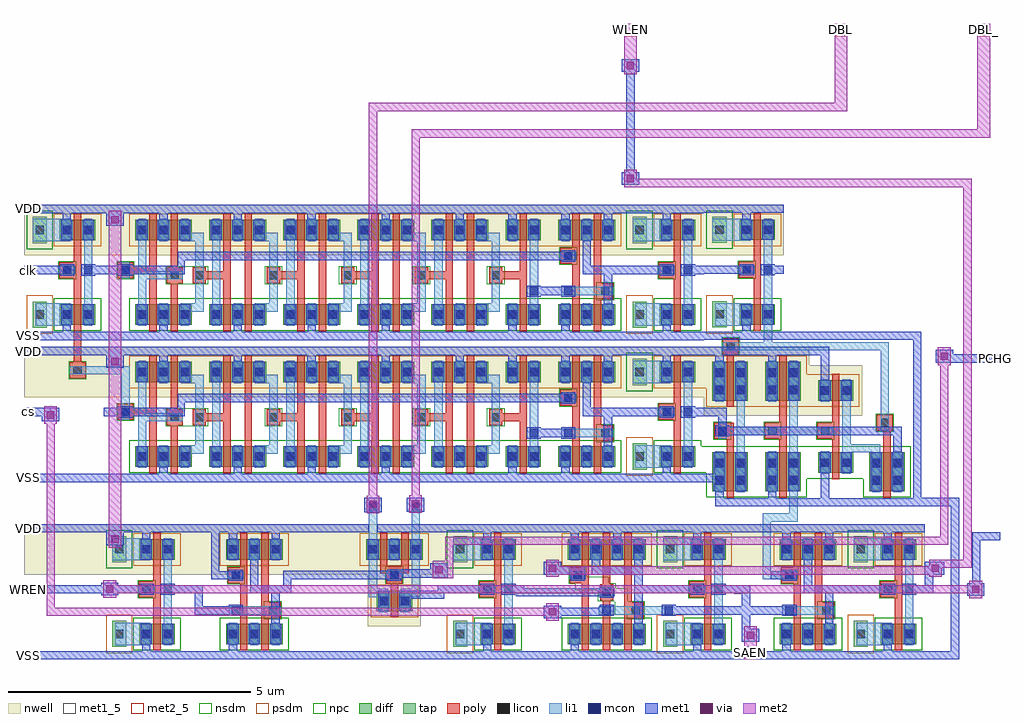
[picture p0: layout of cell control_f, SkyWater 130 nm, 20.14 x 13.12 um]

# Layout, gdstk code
import gdstk
lib = gdstk.Library(unit=1e-6, precision=1e-09)
def R(c, l, rs):  # rectangles x0, y0, x1, y1
    for r in rs: c.add(gdstk.rectangle(r[:2], r[2:], *l))
def A(c, l, x, y, w, h, nx, ny, dx, dy):  # array of equal rectangles
    R(c, l, [(x+i*dx, y+j*dy, x+i*dx+w, y+j*dy+h) for i in range(nx) for j in range(ny)])
nwell = (64, 20)
diff = (65, 20)
tap = (65, 44)
poly = (66, 20)
licon = (66, 44)
li1 = (67, 20)
mcon = (67, 44)
met1_5 = (68, 5)
met1 = (68, 20)
via = (68, 44)
met2_5 = (69, 5)
met2 = (69, 20)
nsdm = (93, 44)
psdm = (94, 20)
npc = (95, 20)

control_f = lib.new_cell('control_f')
R(control_f, nwell, [(7.1,0.685,8.19,1.75), (0,1.75,18.595,2.79), (14.03,5.03,17.3,5.41), (0,5.41,17.3,6.07), (0,6.07,16.21,6.45), (0,8.34,14.03,8.345), (0,8.345,15.68,9.38), (14.03,9.38,15.68,9.385)])
A(control_f, diff, 2.295, 3.975, 1.17, 0.42, 3, 2, 1.53, 1.745)
A(control_f, diff, 2.295, 6.905, 1.17, 0.42, 3, 2, 1.53, 1.745)
R(control_f, diff, [(2.38,0.315,3.11,0.735), (4.17,0.315,5.34,0.735), (9.415,0.315,10.145,0.735), (11.22,0.315,12.83,0.735), (13.75,0.315,14.48,0.735), (15.595,0.315,16.765,0.735), (17.685,0.315,18.415,0.735), (7.28,0.995,8.01,1.415), (2.38,2.06,3.11,2.48), (4.17,2.06,5.34,2.48), (7.06,2.06,8.23,2.48), (9.415,2.06,10.145,2.48), (11.22,2.06,12.83,2.48), (13.75,2.06,14.48,2.48), (15.595,2.06,16.765,2.48), (17.685,2.06,18.415,2.48), (14.21,3.47,14.94,4.27), (15.3,3.47,16.03,4.27), (17.445,3.47,18.175,4.27), (16.39,3.85,17.12,4.27), (6.88,3.975,8.05,4.395), (8.41,3.975,9.58,4.395), (9.94,3.975,10.67,4.395), (11.03,3.975,12.2,4.395), (13.12,3.975,13.85,4.395), (14.21,5.34,14.94,6.14), (15.3,5.34,16.03,6.14), (16.39,5.34,17.12,5.76), (6.88,5.72,8.05,6.14), (8.41,5.72,9.58,6.14), (9.94,5.72,10.67,6.14), (11.03,5.72,12.2,6.14), (13.12,5.72,13.85,6.14), (0.74,6.905,1.47,7.325), (6.88,6.905,8.05,7.325), (8.41,6.905,9.58,7.325), (9.94,6.905,10.67,7.325), (11.03,6.905,12.2,7.325), (13.12,6.905,13.85,7.325), (14.77,6.91,15.5,7.33), (0.74,8.65,1.47,9.07), (6.88,8.65,8.05,9.07), (8.41,8.65,9.58,9.07), (9.94,8.65,10.67,9.07), (11.03,8.65,12.2,9.07), (13.12,8.65,13.85,9.07), (14.77,8.655,15.5,9.075)])
R(control_f, tap, [(1.82,0.255,2.11,0.795), (8.855,0.255,9.145,0.795), (13.19,0.255,13.48,0.795), (17.125,0.255,17.415,0.795), (1.82,2,2.11,2.54), (8.855,2,9.145,2.54), (13.19,2,13.48,2.54), (17.125,2,17.415,2.54), (12.56,3.915,12.85,4.455), (12.56,5.66,12.85,6.2), (0.18,6.845,0.47,7.385), (12.56,6.845,12.85,7.385), (14.21,6.85,14.5,7.39), (0.18,8.59,0.47,9.13), (12.56,8.59,12.85,9.13), (14.21,8.595,14.5,9.135)])
A(control_f, poly, 3.485, 4.83, 0.27, 0.08, 3, 2, 1.53, 0.25)
A(control_f, poly, 3.485, 4.91, 0.78, 0.17, 3, 2, 1.53, 2.93)
A(control_f, poly, 3.485, 7.76, 0.27, 0.08, 3, 2, 1.53, 0.25)
R(control_f, poly, [(2.67,0.185,2.82,1.28), (4.46,0.185,4.61,1.57), (4.9,0.185,5.05,0.845), (9.705,0.185,9.855,1.28), (11.51,0.185,11.66,1.575), (11.95,0.185,12.1,1.22), (12.39,0.185,12.54,0.845), (14.04,0.185,14.19,1.28), (15.885,0.185,16.035,1.57), (16.325,0.185,16.475,0.845), (17.975,0.185,18.125,1.28), (4.9,0.845,5.3,1.175), (12.39,0.845,12.79,1.175), (16.325,0.845,16.725,1.175), (7.57,0.865,7.72,1.565), (4.9,1.175,5.05,2.61), (12.39,1.175,12.54,2.61), (16.325,1.175,16.475,2.61), (11.89,1.22,12.16,1.55), (2.365,1.28,2.82,1.61), (9.4,1.28,9.855,1.61), (13.735,1.28,14.19,1.61), (17.67,1.28,18.125,1.61), (11.95,1.55,12.1,2.61), (7.48,1.565,7.81,1.775), (4.21,1.57,4.61,1.9), (15.635,1.57,16.035,1.9), (11.26,1.575,11.66,1.905), (2.67,1.61,2.82,2.61), (9.705,1.61,9.855,2.61), (14.04,1.61,14.19,2.61), (17.975,1.61,18.125,2.61), (7.35,1.775,7.94,1.925), (4.46,1.9,4.61,2.61), (15.885,1.9,16.035,2.61), (11.51,1.905,11.66,2.61), (7.35,1.925,7.5,2.61), (7.79,1.925,7.94,2.61), (14.5,3.34,14.65,4.55), (15.59,3.34,15.74,4.55), (17.735,3.34,17.885,4.72), (16.68,3.72,16.83,4.55), (2.585,3.845,2.735,5.02), (3.025,3.845,3.175,4.83), (4.115,3.845,4.265,4.91), (4.555,3.845,4.705,6.27), (5.645,3.845,5.795,4.91), (6.085,3.845,6.235,6.27), (7.17,3.845,7.325,4.525), (7.61,3.845,7.76,6.27), (8.7,3.845,8.85,4.91), (9.14,3.845,9.29,6.27), (10.23,3.845,10.38,4.91), (11.32,3.845,11.47,5.23), (11.76,3.845,11.91,4.505), (13.41,3.845,13.56,4.94), (11.76,4.505,12.16,4.835), (7.175,4.525,7.325,4.91), (14.25,4.55,14.65,4.88), (15.285,4.55,15.74,4.88), (16.375,4.55,16.83,4.88), (17.6,4.72,17.93,5.05), (2.945,4.83,3.275,5.16), (8.07,4.83,8.34,4.91), (9.6,4.83,9.87,4.91), (11.76,4.835,11.91,6.27), (15.59,4.88,15.74,6.27), (16.68,4.88,16.83,5.89), (8.07,4.91,8.85,5.08), (9.6,4.91,10.38,5.08), (1.93,4.94,2.26,5.02), (13.105,4.94,13.56,5.27), (1.93,5.02,2.735,5.19), (4.115,5.08,4.265,6.27), (5.645,5.08,5.795,6.27), (7.175,5.08,7.325,5.59), (8.07,5.08,8.34,5.16), (8.7,5.08,8.85,6.27), (9.6,5.08,9.87,5.16), (10.23,5.08,10.38,6.27), (3.025,5.16,3.175,6.27), (1.93,5.19,2.26,5.27), (2.585,5.19,2.735,6.27), (14.5,5.21,14.65,6.295), (11.07,5.23,11.47,5.56), (13.41,5.27,13.56,6.27), (11.32,5.56,11.47,6.27), (7.17,5.59,7.325,6.27), (0.94,5.8,1.27,6.13), (1.03,6.13,1.18,7.87), (14.42,6.295,14.75,6.625), (2.585,6.775,2.735,7.95), (3.025,6.775,3.175,7.76), (4.115,6.775,4.265,7.84), (4.555,6.775,4.705,9.2), (5.645,6.775,5.795,7.84), (6.085,6.775,6.235,9.2), (7.17,6.775,7.325,7.455), (7.61,6.775,7.76,9.2), (8.7,6.775,8.85,7.84), (9.14,6.775,9.29,9.2), (10.23,6.775,10.38,7.84), (11.32,6.775,11.47,8.16), (11.76,6.775,11.91,7.435), (13.41,6.775,13.56,7.87), (15.06,6.78,15.21,7.875), (11.76,7.435,12.16,7.765), (7.175,7.455,7.325,7.84), (2.945,7.76,3.275,8.09), (8.07,7.76,8.34,7.84), (9.6,7.76,9.87,7.84), (11.76,7.765,11.91,9.2), (8.07,7.84,8.85,8.01), (9.6,7.84,10.38,8.01), (0.725,7.87,1.18,8.2), (1.93,7.87,2.26,7.95), (13.105,7.87,13.56,8.2), (14.755,7.875,15.21,8.205), (1.93,7.95,2.735,8.12), (4.115,8.01,4.265,9.2), (5.645,8.01,5.795,9.2), (7.175,8.01,7.325,8.52), (8.07,8.01,8.34,8.09), (8.7,8.01,8.85,9.2), (9.6,8.01,9.87,8.09), (10.23,8.01,10.38,9.2), (3.025,8.09,3.175,9.2), (1.93,8.12,2.26,8.2), (2.585,8.12,2.735,9.2), (11.07,8.16,11.47,8.49), (1.03,8.2,1.18,9.2), (13.41,8.2,13.56,9.2), (15.06,8.205,15.21,9.205), (11.32,8.49,11.47,9.2), (7.17,8.52,7.325,9.2)])
A(control_f, licon, 4.23, 0.44, 0.17, 0.17, 3, 2, 0.44, 1.745)
A(control_f, licon, 11.28, 0.44, 0.17, 0.17, 4, 2, 0.44, 1.745)
A(control_f, licon, 15.655, 0.44, 0.17, 0.17, 3, 2, 0.44, 1.745)
A(control_f, licon, 7.12, 2.185, 0.17, 0.17, 3, 1, 0.44, 0)
A(control_f, licon, 2.355, 4.1, 0.17, 0.17, 3, 2, 0.44, 1.745)
A(control_f, licon, 3.885, 4.1, 0.17, 0.17, 3, 2, 0.44, 1.745)
A(control_f, licon, 5.415, 4.1, 0.17, 0.17, 3, 2, 0.44, 1.745)
A(control_f, licon, 6.94, 4.1, 0.17, 0.17, 3, 2, 0.44, 1.745)
A(control_f, licon, 8.47, 4.1, 0.17, 0.17, 3, 2, 0.44, 1.745)
A(control_f, licon, 11.09, 4.1, 0.17, 0.17, 3, 2, 0.44, 1.745)
A(control_f, licon, 3.535, 4.91, 0.17, 0.17, 3, 2, 1.53, 2.93)
A(control_f, licon, 2.355, 7.03, 0.17, 0.17, 3, 2, 0.44, 1.745)
A(control_f, licon, 3.885, 7.03, 0.17, 0.17, 3, 2, 0.44, 1.745)
A(control_f, licon, 5.415, 7.03, 0.17, 0.17, 3, 2, 0.44, 1.745)
A(control_f, licon, 6.94, 7.03, 0.17, 0.17, 3, 2, 0.44, 1.745)
A(control_f, licon, 8.47, 7.03, 0.17, 0.17, 3, 2, 0.44, 1.745)
A(control_f, licon, 11.09, 7.03, 0.17, 0.17, 3, 2, 0.44, 1.745)
R(control_f, licon, [(1.88,0.44,2.05,0.61), (2.44,0.44,2.61,0.61), (2.88,0.44,3.05,0.61), (8.915,0.44,9.085,0.61), (9.475,0.44,9.645,0.61), (9.915,0.44,10.085,0.61), (13.25,0.44,13.42,0.61), (13.81,0.44,13.98,0.61), (14.25,0.44,14.42,0.61), (17.185,0.44,17.355,0.61), (17.745,0.44,17.915,0.61), (18.185,0.44,18.355,0.61), (5.05,0.925,5.22,1.095), (12.54,0.925,12.71,1.095), (16.475,0.925,16.645,1.095), (7.34,1.12,7.51,1.29), (7.78,1.12,7.95,1.29), (11.94,1.3,12.11,1.47), (2.445,1.36,2.615,1.53), (9.48,1.36,9.65,1.53), (13.815,1.36,13.985,1.53), (17.75,1.36,17.92,1.53), (4.29,1.65,4.46,1.82), (15.715,1.65,15.885,1.82), (7.56,1.655,7.73,1.825), (11.34,1.655,11.51,1.825), (1.88,2.185,2.05,2.355), (2.44,2.185,2.61,2.355), (2.88,2.185,3.05,2.355), (8.915,2.185,9.085,2.355), (9.475,2.185,9.645,2.355), (9.915,2.185,10.085,2.355), (13.25,2.185,13.42,2.355), (13.81,2.185,13.98,2.355), (14.25,2.185,14.42,2.355), (17.185,2.185,17.355,2.355), (17.745,2.185,17.915,2.355), (18.185,2.185,18.355,2.355), (14.27,3.615,14.44,3.785), (14.71,3.615,14.88,3.785), (15.36,3.615,15.53,3.785), (15.8,3.615,15.97,3.785), (17.505,3.615,17.675,3.785), (17.945,3.615,18.115,3.785), (14.27,3.955,14.44,4.125), (14.71,3.955,14.88,4.125), (15.36,3.955,15.53,4.125), (15.8,3.955,15.97,4.125), (17.505,3.955,17.675,4.125), (17.945,3.955,18.115,4.125), (16.45,3.975,16.62,4.145), (16.89,3.975,17.06,4.145), (10,4.1,10.17,4.27), (10.44,4.1,10.61,4.27), (12.62,4.1,12.79,4.27), (13.18,4.1,13.35,4.27), (13.62,4.1,13.79,4.27), (11.91,4.585,12.08,4.755), (14.33,4.63,14.5,4.8), (15.365,4.63,15.535,4.8), (16.455,4.63,16.625,4.8), (17.68,4.8,17.85,4.97), (3.025,4.91,3.195,5.08), (8.12,4.91,8.29,5.08), (9.65,4.91,9.82,5.08), (2.01,5.02,2.18,5.19), (13.185,5.02,13.355,5.19), (11.15,5.31,11.32,5.48), (16.45,5.465,16.62,5.635), (16.89,5.465,17.06,5.635), (14.27,5.485,14.44,5.655), (14.71,5.485,14.88,5.655), (15.36,5.485,15.53,5.655), (15.8,5.485,15.97,5.655), (14.27,5.825,14.44,5.995), (14.71,5.825,14.88,5.995), (15.36,5.825,15.53,5.995), (15.8,5.825,15.97,5.995), (10,5.845,10.17,6.015), (10.44,5.845,10.61,6.015), (12.62,5.845,12.79,6.015), (13.18,5.845,13.35,6.015), (13.62,5.845,13.79,6.015), (1.02,5.88,1.19,6.05), (14.5,6.375,14.67,6.545), (0.24,7.03,0.41,7.2), (0.8,7.03,0.97,7.2), (1.24,7.03,1.41,7.2), (10,7.03,10.17,7.2), (10.44,7.03,10.61,7.2), (12.62,7.03,12.79,7.2), (13.18,7.03,13.35,7.2), (13.62,7.03,13.79,7.2), (14.27,7.035,14.44,7.205), (14.83,7.035,15,7.205), (15.27,7.035,15.44,7.205), (11.91,7.515,12.08,7.685), (3.025,7.84,3.195,8.01), (8.12,7.84,8.29,8.01), (9.65,7.84,9.82,8.01), (0.805,7.95,0.975,8.12), (2.01,7.95,2.18,8.12), (13.185,7.95,13.355,8.12), (14.835,7.955,15.005,8.125), (11.15,8.24,11.32,8.41), (0.24,8.775,0.41,8.945), (0.8,8.775,0.97,8.945), (1.24,8.775,1.41,8.945), (10,8.775,10.17,8.945), (10.44,8.775,10.61,8.945), (12.62,8.775,12.79,8.945), (13.18,8.775,13.35,8.945), (13.62,8.775,13.79,8.945), (14.27,8.78,14.44,8.95), (14.83,8.78,15,8.95), (15.27,8.78,15.44,8.95)])
A(control_f, li1, 4.23, 0.295, 0.17, 0.46, 3, 2, 0.44, 1.745)
A(control_f, li1, 11.28, 0.295, 0.17, 0.46, 4, 2, 0.44, 1.745)
A(control_f, li1, 15.655, 0.295, 0.17, 0.46, 3, 2, 0.44, 1.745)
A(control_f, li1, 2.795, 3.955, 0.17, 0.46, 3, 2, 1.53, 1.745)
A(control_f, li1, 3.235, 3.955, 0.17, 0.29, 3, 2, 1.53, 1.915)
A(control_f, li1, 8.91, 3.955, 0.17, 0.46, 3, 2, 1.09, 1.745)
A(control_f, li1, 3.235, 4.245, 0.47, 0.17, 3, 2, 1.53, 1.455)
A(control_f, li1, 3.535, 4.415, 0.17, 1.285, 3, 2, 1.53, 2.93)
A(control_f, li1, 2.795, 6.885, 0.17, 0.46, 3, 2, 1.53, 1.745)
A(control_f, li1, 3.235, 6.885, 0.17, 0.29, 3, 2, 1.53, 1.915)
A(control_f, li1, 8.91, 6.885, 0.17, 0.46, 3, 2, 1.09, 1.745)
A(control_f, li1, 3.235, 7.175, 0.47, 0.17, 3, 2, 1.53, 1.455)
R(control_f, li1, [(1.88,0.295,2.61,0.755), (2.88,0.295,3.05,2.5), (8.915,0.295,9.645,0.755), (9.915,0.295,10.085,2.5), (13.25,0.295,13.98,0.755), (14.25,0.295,14.42,2.5), (17.185,0.295,17.915,0.755), (18.185,0.295,18.355,2.5), (4.23,0.925,5.3,1.095), (11.86,0.925,13.395,1.095), (15.655,0.925,16.725,1.095), (7.34,0.975,7.51,1.285), (7.78,0.975,7.95,1.285), (7.12,1.285,7.51,1.455), (7.78,1.285,8.17,1.455), (11.86,1.3,12.19,1.47), (2.365,1.36,2.695,1.53), (9.4,1.36,9.73,1.53), (13.735,1.36,14.065,1.53), (17.67,1.36,18,1.53), (7.12,1.455,7.34,1.46), (7.95,1.455,8.17,1.46), (7.12,1.46,7.29,3.24), (8,1.46,8.17,3.245), (4.21,1.65,4.54,1.82), (15.245,1.65,15.965,1.82), (7.48,1.655,7.81,1.825), (11.26,1.655,11.59,1.825), (15.245,1.82,15.415,2.84), (1.82,2.04,2.61,2.5), (7.56,2.04,7.73,2.5), (8.855,2.04,9.645,2.5), (13.19,2.04,13.98,2.5), (17.125,2.04,17.915,2.5), (15.245,2.84,15.97,3.01), (15.8,3.01,15.97,4.63), (14.27,3.45,14.44,4.29), (14.71,3.45,14.88,4.63), (15.36,3.45,15.53,4.29), (17.505,3.45,17.675,4.27), (17.945,3.45,18.115,4.29), (16.45,3.83,16.62,4.29), (16.89,3.83,17.06,4.27), (2.355,3.955,2.525,4.91), (3.885,3.955,4.055,6.16), (5.415,3.955,5.585,6.16), (6.94,3.955,7.11,6.16), (7.38,3.955,7.55,4.415), (7.82,3.955,7.99,4.245), (8.47,3.955,8.64,6.16), (9.35,3.955,9.52,4.245), (10.44,3.955,10.61,6.16), (11.53,3.955,11.7,4.415), (11.97,3.955,12.14,4.415), (12.62,3.955,13.35,4.415), (13.62,3.955,13.79,6.16), (7.82,4.245,8.29,4.415), (9.35,4.245,9.82,4.415), (16.89,4.27,17.675,4.44), (8.12,4.415,8.29,5.7), (9.65,4.415,9.82,5.7), (16.89,4.44,17.06,5.78), (14.33,4.55,14.5,4.88), (11.09,4.585,12.16,4.755), (14.71,4.63,15.615,4.8), (15.8,4.63,16.705,4.8), (17.68,4.72,17.85,6.375), (14.71,4.8,14.88,6.16), (15.8,4.8,15.97,6.16), (2.355,4.91,3.275,5.08), (2.01,4.94,2.18,5.88), (13.105,5.02,13.435,5.19), (2.355,5.08,2.525,6.16), (11.07,5.31,11.4,5.48), (14.27,5.32,14.44,6.16), (15.36,5.32,15.53,6.16), (16.45,5.32,16.62,5.78), (7.38,5.7,7.55,6.16), (7.82,5.7,8.29,5.87), (9.35,5.7,9.82,5.87), (11.53,5.7,11.7,6.16), (11.97,5.7,12.14,6.16), (12.56,5.7,13.35,6.16), (7.82,5.87,7.99,6.16), (9.35,5.87,9.52,6.16), (0.94,5.88,2.18,6.05), (14.42,6.375,17.85,6.545), (15.27,6.545,15.44,9.095), (0.24,6.885,0.97,7.345), (1.24,6.885,1.41,9.09), (2.355,6.885,2.525,7.84), (3.885,6.885,4.055,9.09), (5.415,6.885,5.585,9.09), (6.94,6.885,7.11,9.09), (7.38,6.885,7.55,7.345), (7.82,6.885,7.99,7.175), (8.47,6.885,8.64,9.09), (9.35,6.885,9.52,7.175), (10.44,6.885,10.61,9.09), (11.53,6.885,11.7,7.345), (11.97,6.885,12.14,7.345), (12.62,6.885,13.35,7.345), (13.62,6.885,13.79,9.09), (14.27,6.89,15,7.35), (7.82,7.175,8.29,7.345), (9.35,7.175,9.82,7.345), (8.12,7.345,8.29,8.63), (9.65,7.345,9.82,8.63), (11.09,7.515,12.16,7.685), (2.355,7.84,3.275,8.01), (2.01,7.87,2.18,8.2), (0.725,7.95,1.055,8.12), (13.105,7.95,13.435,8.12), (14.755,7.955,15.085,8.125), (2.355,8.01,2.525,9.09), (11.07,8.24,11.4,8.41), (0.18,8.63,0.97,9.09), (7.38,8.63,7.55,9.09), (7.82,8.63,8.29,8.8), (9.35,8.63,9.82,8.8), (11.53,8.63,11.7,9.09), (11.97,8.63,12.14,9.09), (12.56,8.63,13.35,9.09), (14.21,8.635,15,9.095), (7.82,8.8,7.99,9.09), (9.35,8.8,9.52,9.09)])
A(control_f, mcon, 4.23, 0.44, 0.17, 0.17, 3, 2, 0.44, 1.745)
A(control_f, mcon, 11.28, 0.44, 0.17, 0.17, 4, 2, 0.44, 1.745)
A(control_f, mcon, 15.655, 0.44, 0.17, 0.17, 3, 2, 0.44, 1.745)
A(control_f, mcon, 7.12, 2.185, 0.17, 0.17, 3, 1, 0.44, 0)
A(control_f, mcon, 2.355, 4.1, 0.17, 0.17, 3, 2, 0.44, 1.745)
A(control_f, mcon, 3.885, 4.1, 0.17, 0.17, 3, 2, 0.44, 1.745)
A(control_f, mcon, 5.415, 4.1, 0.17, 0.17, 3, 2, 0.44, 1.745)
A(control_f, mcon, 6.94, 4.1, 0.17, 0.17, 3, 2, 0.44, 1.745)
A(control_f, mcon, 8.47, 4.1, 0.17, 0.17, 3, 2, 0.44, 1.745)
A(control_f, mcon, 11.09, 4.1, 0.17, 0.17, 3, 2, 0.44, 1.745)
A(control_f, mcon, 2.355, 7.03, 0.17, 0.17, 3, 2, 0.44, 1.745)
A(control_f, mcon, 3.885, 7.03, 0.17, 0.17, 3, 2, 0.44, 1.745)
A(control_f, mcon, 5.415, 7.03, 0.17, 0.17, 3, 2, 0.44, 1.745)
A(control_f, mcon, 6.94, 7.03, 0.17, 0.17, 3, 2, 0.44, 1.745)
A(control_f, mcon, 8.47, 7.03, 0.17, 0.17, 3, 2, 0.44, 1.745)
A(control_f, mcon, 11.09, 7.03, 0.17, 0.17, 3, 2, 0.44, 1.745)
R(control_f, mcon, [(2.44,0.44,2.61,0.61), (2.88,0.44,3.05,0.61), (9.475,0.44,9.645,0.61), (9.915,0.44,10.085,0.61), (13.81,0.44,13.98,0.61), (14.25,0.44,14.42,0.61), (17.745,0.44,17.915,0.61), (18.185,0.44,18.355,0.61), (4.29,0.925,4.46,1.095), (11.94,0.925,12.11,1.095), (13.225,0.925,13.395,1.095), (15.715,0.925,15.885,1.095), (7.34,1.12,7.51,1.29), (7.78,1.12,7.95,1.29), (11.94,1.3,12.11,1.47), (2.445,1.36,2.615,1.53), (2.88,1.36,3.05,1.53), (9.48,1.36,9.65,1.53), (9.915,1.36,10.085,1.53), (13.815,1.36,13.985,1.53), (14.25,1.36,14.42,1.53), (17.75,1.36,17.92,1.53), (18.185,1.36,18.355,1.53), (4.29,1.65,4.46,1.82), (15.715,1.65,15.885,1.82), (7.56,1.655,7.73,1.825), (11.34,1.655,11.51,1.825), (2.44,2.185,2.61,2.355), (2.88,2.185,3.05,2.355), (9.475,2.185,9.645,2.355), (9.915,2.185,10.085,2.355), (13.81,2.185,13.98,2.355), (14.25,2.185,14.42,2.355), (17.745,2.185,17.915,2.355), (18.185,2.185,18.355,2.355), (7.12,3.07,7.29,3.24), (8,3.075,8.17,3.245), (14.27,3.605,14.44,3.775), (14.71,3.605,14.88,3.775), (15.36,3.605,15.53,3.775), (15.8,3.605,15.97,3.775), (17.505,3.605,17.675,3.775), (17.945,3.605,18.115,3.775), (14.27,3.965,14.44,4.135), (14.71,3.965,14.88,4.135), (15.36,3.965,15.53,4.135), (15.8,3.965,15.97,4.135), (17.505,3.965,17.675,4.135), (17.945,3.965,18.115,4.135), (16.45,3.975,16.62,4.145), (16.89,3.975,17.06,4.145), (10,4.1,10.17,4.27), (10.44,4.1,10.61,4.27), (13.18,4.1,13.35,4.27), (13.62,4.1,13.79,4.27), (10.44,4.585,10.61,4.755), (11.15,4.585,11.32,4.755), (14.33,4.63,14.5,4.8), (2.01,5.02,2.18,5.19), (13.185,5.02,13.355,5.19), (13.62,5.02,13.79,5.19), (11.15,5.31,11.32,5.48), (16.45,5.465,16.62,5.635), (16.89,5.465,17.06,5.635), (14.27,5.475,14.44,5.645), (14.71,5.475,14.88,5.645), (15.36,5.475,15.53,5.645), (15.8,5.475,15.97,5.645), (14.27,5.835,14.44,6.005), (14.71,5.835,14.88,6.005), (15.36,5.835,15.53,6.005), (15.8,5.835,15.97,6.005), (10,5.845,10.17,6.015), (10.44,5.845,10.61,6.015), (13.18,5.845,13.35,6.015), (13.62,5.845,13.79,6.015), (0.8,7.03,0.97,7.2), (1.24,7.03,1.41,7.2), (10,7.03,10.17,7.2), (10.44,7.03,10.61,7.2), (13.18,7.03,13.35,7.2), (13.62,7.03,13.79,7.2), (14.83,7.035,15,7.205), (15.27,7.035,15.44,7.205), (10.44,7.515,10.61,7.685), (11.15,7.515,11.32,7.685), (0.805,7.95,0.975,8.12), (1.24,7.95,1.41,8.12), (2.01,7.95,2.18,8.12), (13.185,7.95,13.355,8.12), (13.62,7.95,13.79,8.12), (14.835,7.955,15.005,8.125), (15.27,7.955,15.44,8.125), (11.15,8.24,11.32,8.41), (0.8,8.775,0.97,8.945), (1.24,8.775,1.41,8.945), (10,8.775,10.17,8.945), (10.44,8.775,10.61,8.945), (13.18,8.775,13.35,8.945), (13.62,8.775,13.79,8.945), (14.83,8.78,15,8.95), (15.27,8.78,15.44,8.95)])
R(control_f, met1_5, [(0,0,0.17,0.17), (0,1.36,0.17,1.53), (0,2.62,0.17,2.79), (0,3.66,0.17,3.83), (0,5.02,0.17,5.19), (19.975,6.125,20.145,6.295), (0,6.275,0.17,6.45), (0,6.59,0.17,6.76), (0,7.95,0.17,8.12), (0,9.21,0.17,9.38)])
A(control_f, met1, 4.2, 0.315, 0.23, 0.42, 3, 2, 0.44, 1.745)
A(control_f, met1, 11.25, 0.315, 0.23, 0.42, 4, 2, 0.44, 1.745)
A(control_f, met1, 15.625, 0.315, 0.23, 0.42, 3, 2, 0.44, 1.745)
A(control_f, met1, 7.09, 2.06, 0.23, 0.42, 3, 1, 0.44, 0)
A(control_f, met1, 2.795, 3.83, 0.17, 0.145, 3, 2, 1.53, 2.93)
A(control_f, met1, 2.325, 3.975, 0.23, 0.42, 3, 2, 0.44, 1.745)
A(control_f, met1, 3.855, 3.975, 0.23, 0.42, 3, 2, 0.44, 1.745)
A(control_f, met1, 5.385, 3.975, 0.23, 0.42, 3, 2, 0.44, 1.745)
A(control_f, met1, 6.91, 3.975, 0.23, 0.42, 3, 2, 0.44, 1.745)
A(control_f, met1, 8.44, 3.975, 0.23, 0.42, 3, 2, 0.44, 1.745)
A(control_f, met1, 11.06, 3.975, 0.23, 0.42, 3, 2, 0.44, 1.745)
A(control_f, met1, 5.85, 6.14, 0.17, 0.14, 3, 2, 1.53, 2.93)
A(control_f, met1, 13.18, 6.14, 0.17, 0.14, 3, 1, 1.09, 0)
A(control_f, met1, 2.325, 6.905, 0.23, 0.42, 3, 2, 0.44, 1.745)
A(control_f, met1, 3.855, 6.905, 0.23, 0.42, 3, 2, 0.44, 1.745)
A(control_f, met1, 5.385, 6.905, 0.23, 0.42, 3, 2, 0.44, 1.745)
A(control_f, met1, 6.91, 6.905, 0.23, 0.42, 3, 2, 0.44, 1.745)
A(control_f, met1, 8.44, 6.905, 0.23, 0.42, 3, 2, 0.44, 1.745)
A(control_f, met1, 11.06, 6.905, 0.23, 0.42, 3, 2, 0.44, 1.745)
R(control_f, met1, [(0,0,19.3,0.17), (2.44,0.17,2.61,0.315), (4.23,0.17,4.4,0.315), (9.475,0.17,9.645,0.315), (11.28,0.17,11.45,0.315), (13.81,0.17,13.98,0.315), (15.655,0.17,15.825,0.315), (17.745,0.17,17.915,0.315), (19.13,0.17,19.3,3.155), (2.41,0.315,2.64,0.735), (2.85,0.315,3.08,0.735), (9.445,0.315,9.675,0.735), (9.885,0.315,10.115,0.735), (13.78,0.315,14.01,0.735), (14.22,0.315,14.45,0.735), (17.715,0.315,17.945,0.735), (18.155,0.315,18.385,0.735), (14.815,0.365,15.175,0.63), (14.815,0.63,14.985,0.925), (5.105,0.735,5.275,1.36), (12.6,0.735,12.77,1.36), (16.535,0.735,16.705,1.36), (10.73,0.85,11.09,0.895), (4.23,0.895,4.52,0.925), (10.73,0.895,12.17,1.065), (13.165,0.895,13.455,0.925), (15.655,0.895,15.945,0.925), (3.52,0.925,4.52,1.095), (13.165,0.925,15.945,1.095), (7.31,0.995,7.54,1.415), (7.75,0.995,7.98,1.25), (10.73,1.065,11.09,1.11), (11.88,1.065,12.17,1.125), (3.52,1.095,3.69,1.36), (4.23,1.095,4.52,1.125), (13.165,1.095,13.455,1.125), (14.815,1.095,14.985,1.355), (15.655,1.095,15.945,1.125), (7.75,1.25,8.675,1.36), (11.88,1.27,12.17,1.3), (10.145,1.3,12.17,1.33), (19.465,1.315,19.825,1.575), (1.59,1.32,1.95,1.36), (2.385,1.33,2.675,1.36), (2.82,1.33,3.11,1.36), (9.42,1.33,9.71,1.36), (9.855,1.33,12.17,1.47), (13.755,1.33,14.045,1.36), (14.19,1.33,14.48,1.36), (17.69,1.33,17.98,1.36), (18.125,1.33,18.415,1.36), (14.66,1.355,14.985,1.36), (0,1.36,2.675,1.53), (2.82,1.36,3.69,1.53), (4.67,1.36,5.52,1.53), (7.75,1.36,9.71,1.415), (12.6,1.36,14.045,1.53), (14.19,1.36,14.985,1.53), (16.095,1.36,17.98,1.53), (18.125,1.36,18.765,1.53), (7.98,1.415,9.71,1.42), (8.535,1.42,9.71,1.53), (9.855,1.47,10.325,1.53), (11.88,1.47,12.17,1.5), (1.59,1.53,1.95,1.58), (2.385,1.53,2.675,1.56), (2.82,1.53,3.11,1.56), (4.67,1.53,4.84,2.06), (5.35,1.53,5.52,1.655), (9.42,1.53,9.71,1.56), (9.855,1.53,10.145,1.56), (12.6,1.53,12.77,1.75), (13.755,1.53,14.045,1.56), (14.19,1.53,14.48,1.56), (16.095,1.53,16.265,2.06), (17.69,1.53,17.98,1.56), (18.125,1.53,18.415,1.56), (18.595,1.53,18.765,1.75), (19.57,1.575,19.74,2.455), (4.23,1.62,4.52,1.65), (15.655,1.62,15.945,1.65), (7.5,1.625,7.79,1.655), (11.28,1.625,11.57,1.75), (3.86,1.65,4.52,1.82), (15.415,1.65,15.945,1.82), (5.35,1.655,7.79,1.685), (5.35,1.685,8.745,1.825), (10.73,1.75,11.57,1.92), (11.72,1.75,12.77,1.92), (18.595,1.75,18.99,2.01), (3.86,1.82,4.03,2.62), (4.23,1.82,4.52,1.85), (15.655,1.82,15.945,1.85), (7.5,1.825,8.745,1.855), (8.385,1.855,8.745,1.98), (10.73,1.92,11.09,2.01), (11.72,1.92,11.89,2.06), (12.6,1.92,12.77,2.06), (2.41,2.06,2.64,2.48), (2.85,2.06,3.08,2.48), (9.445,2.06,9.675,2.48), (9.885,2.06,10.115,2.48), (13.78,2.06,14.01,2.48), (14.22,2.06,14.45,2.48), (17.715,2.06,17.945,2.48), (18.155,2.06,18.385,2.48), (1.7,2.355,2.06,2.62), (19.57,2.455,20.145,2.625), (2.44,2.48,2.61,2.62), (4.23,2.48,4.4,2.62), (5.11,2.48,5.28,2.62), (9.475,2.48,9.645,2.62), (11.28,2.48,11.45,2.62), (12.16,2.48,12.33,2.62), (13.81,2.48,13.98,2.62), (15.655,2.48,15.825,2.62), (16.535,2.48,16.705,2.62), (17.745,2.48,17.915,2.62), (0,2.62,7.12,2.79), (7.29,2.62,18.595,2.79), (7.025,3.04,7.385,3.33), (7.9,3.045,8.26,3.335), (14.27,3.155,19.3,3.325), (14.27,3.325,14.44,3.47), (15.36,3.325,15.53,3.47), (16.45,3.325,16.62,3.85), (18.35,3.325,19.3,3.33), (18.35,3.33,18.52,6.595), (14.24,3.47,14.47,3.66), (14.68,3.47,14.91,4.27), (15.33,3.47,15.56,4.27), (15.77,3.47,16,4.27), (17.475,3.47,17.705,4.27), (17.915,3.47,18.145,4.27), (0,3.66,14.47,3.83), (7.38,3.83,7.55,3.975), (10,3.83,10.17,3.975), (11.09,3.83,11.26,3.975), (13.18,3.83,13.35,3.975), (14.24,3.83,14.47,4.27), (16.42,3.85,16.65,4.27), (16.86,3.85,17.09,4.27), (9.97,3.975,10.2,4.395), (10.41,3.975,10.64,4.395), (13.15,3.975,13.38,4.395), (13.59,3.975,13.82,4.395), (17.945,4.27,18.115,4.63), (11.97,4.395,12.14,5.02), (10.38,4.555,10.67,4.585), (11.09,4.555,11.38,4.585), (10.38,4.585,11.38,4.755), (14.27,4.6,14.56,4.63), (14.27,4.63,18.115,4.8), (10.38,4.755,10.67,4.785), (11.09,4.755,11.38,4.785), (14.27,4.8,14.56,4.83), (14.33,4.83,14.5,5.02), (0.365,4.915,0.725,5.02), (1.95,4.99,2.24,5.02), (13.125,4.99,13.415,5.02), (13.56,4.99,13.85,5.02), (0,5.02,0.725,5.19), (1.65,5.02,3.315,5.19), (11.53,5.02,13.415,5.19), (13.56,5.02,14.5,5.19), (1.95,5.19,2.24,5.22), (3.175,5.19,3.315,5.31), (11.53,5.19,11.7,5.72), (13.125,5.19,13.415,5.22), (13.56,5.19,13.85,5.22), (11.09,5.28,11.38,5.31), (3.175,5.31,11.38,5.48), (14.24,5.34,14.47,6.14), (14.68,5.34,14.91,6.14), (15.33,5.34,15.56,6.14), (15.77,5.34,16,6.14), (16.42,5.34,16.65,5.76), (16.86,5.34,17.09,5.76), (11.09,5.48,11.38,5.51), (9.97,5.72,10.2,6.14), (10.41,5.72,10.64,6.14), (13.15,5.72,13.38,6.14), (13.59,5.72,13.82,6.14), (16.45,5.76,16.62,6.28), (1.7,6.015,2.06,6.275), (18.815,6.12,19.175,6.125), (18.815,6.125,20.145,6.295), (2.795,6.14,2.965,6.28), (4.325,6.14,4.495,6.28), (10,6.14,10.17,6.28), (11.09,6.14,11.26,6.28), (11.97,6.14,12.14,6.28), (0,6.275,2.06,6.28), (0,6.28,16.62,6.45), (18.815,6.295,19.175,6.39), (14.27,6.45,15.12,6.455), (0,6.59,14.03,6.595), (0,6.595,18.52,6.76), (0.8,6.76,0.97,6.905), (7.38,6.76,7.55,6.905), (10,6.76,10.17,6.905), (11.09,6.76,11.26,6.905), (13.18,6.76,13.35,6.905), (14.03,6.76,18.52,6.765), (14.83,6.765,15,6.91), (0.77,6.905,1,7.325), (1.21,6.905,1.44,7.325), (9.97,6.905,10.2,7.325), (10.41,6.905,10.64,7.325), (13.15,6.905,13.38,7.325), (13.59,6.905,13.82,7.325), (14.8,6.91,15.03,7.33), (15.24,6.91,15.47,7.33), (11.97,7.325,12.14,7.95), (10.38,7.485,10.67,7.515), (11.09,7.485,11.38,7.515), (10.38,7.515,11.38,7.685), (10.38,7.685,10.67,7.715), (11.09,7.685,11.38,7.715), (0.745,7.92,1.035,7.95), (1.18,7.92,1.47,7.95), (1.95,7.92,2.24,7.95), (13.125,7.92,13.415,7.95), (13.56,7.92,13.85,7.95), (14.775,7.925,15.065,7.955), (15.21,7.925,15.5,7.955), (0,7.95,1.035,8.12), (1.18,7.95,3.315,8.12), (11.53,7.95,13.415,8.12), (13.56,7.95,14.03,7.955), (13.56,7.955,15.065,8.12), (15.21,7.955,15.68,8.125), (0.745,8.12,1.035,8.15), (1.18,8.12,1.47,8.15), (1.95,8.12,2.24,8.15), (3.175,8.12,3.315,8.24), (11.53,8.12,11.7,8.65), (13.125,8.12,13.415,8.15), (13.56,8.12,13.85,8.15), (14.03,8.12,15.065,8.125), (14.775,8.125,15.065,8.155), (15.21,8.125,15.5,8.155), (11.09,8.21,11.38,8.24), (3.175,8.24,11.38,8.41), (11.09,8.41,11.38,8.44), (0.77,8.65,1,9.07), (1.21,8.65,1.44,9.07), (9.97,8.65,10.2,9.07), (10.41,8.65,10.64,9.07), (13.15,8.65,13.38,9.07), (13.59,8.65,13.82,9.07), (14.8,8.655,15.03,9.075), (15.24,8.655,15.47,9.075), (1.7,8.945,2.06,9.21), (0.8,9.07,0.97,9.21), (2.795,9.07,2.965,9.21), (4.325,9.07,4.495,9.21), (10,9.07,10.17,9.21), (11.09,9.07,11.26,9.21), (11.97,9.07,12.14,9.21), (13.18,9.07,13.35,9.21), (14.83,9.075,15,9.215), (0,9.21,14.03,9.215), (0,9.215,15.68,9.38), (14.03,9.38,15.68,9.385), (12.335,9.795,12.7,10.055), (12.435,10.055,12.605,12.125), (12.335,12.125,12.695,12.385)])
R(control_f, via, [(14.92,0.42,15.07,0.57), (10.835,0.905,10.985,1.055), (19.57,1.37,19.72,1.52), (1.695,1.375,1.845,1.525), (8.49,1.775,8.64,1.925), (10.835,1.805,10.985,1.955), (18.735,1.805,18.885,1.955), (1.805,2.41,1.955,2.56), (7.13,3.125,7.28,3.275), (8.005,3.13,8.155,3.28), (0.47,4.97,0.62,5.12), (1.805,6.07,1.955,6.22), (18.92,6.18,19.07,6.33), (1.805,9,1.955,9.15), (12.44,9.85,12.59,10), (12.44,12.18,12.59,12.33)])
R(control_f, met2_5, [(14.865,0,15.125,0.265), (12.385,12.86,12.645,13.12), (16.73,12.86,16.99,13.12), (19.68,12.86,19.94,13.12)])
R(control_f, met2, [(14.865,0,15.125,0.68), (10.78,0.8,11.04,0.895), (0.465,0.895,11.04,1.065), (0.465,1.065,0.635,4.865), (10.78,1.065,11.04,1.16), (19.515,1.265,19.775,1.36), (1.64,1.27,1.9,1.36), (1.64,1.36,19.775,1.53), (1.64,1.53,1.9,1.63), (19.515,1.53,19.775,1.625), (8.435,1.67,8.865,2.03), (10.78,1.7,11.04,1.75), (18.68,1.7,18.94,1.75), (10.78,1.75,18.94,1.89), (10.78,1.89,19.56,1.92), (10.78,1.92,11.04,2.06), (18.68,1.92,19.56,2.06), (8.695,2.03,8.865,2.365), (19.39,2.06,19.56,9.745), (1.75,2.305,2.01,9.26), (8.695,2.365,19.08,2.535), (18.91,2.535,19.08,6.07), (7.075,3.02,7.335,3.38), (7.95,3.025,8.21,3.385), (7.12,3.38,7.29,11.315), (8,3.385,8.17,10.77), (0.415,4.865,0.675,5.225), (18.865,6.07,19.125,6.44), (12.385,9.745,19.56,9.915), (12.385,9.915,12.65,10.105), (8,10.77,19.94,10.94), (19.68,10.94,19.94,13.12), (7.12,11.315,16.99,11.485), (16.73,11.485,16.99,13.12), (12.385,12.075,12.645,13.12)])
R(control_f, nsdm, [(2.255,0.19,3.235,0.86), (4.045,0.19,5.465,0.86), (9.29,0.19,10.27,0.86), (11.095,0.19,12.955,0.86), (13.625,0.19,14.605,0.86), (15.47,0.19,16.89,0.86), (17.56,0.19,18.54,0.86), (1.695,1.875,2.235,2.665), (8.73,1.875,9.27,2.665), (13.065,1.875,13.605,2.665), (17,1.875,17.54,2.665), (14.085,3.345,16.155,3.725), (17.32,3.345,18.3,3.725), (14.085,3.725,18.3,3.85), (2.17,3.85,12.325,4.52), (12.995,3.85,18.3,4.395), (12.995,4.395,13.975,4.52), (12.435,5.535,12.975,6.325), (0.615,6.78,1.595,7.45), (2.17,6.78,12.325,7.45), (12.995,6.78,13.975,7.45), (14.645,6.785,15.625,7.455), (0.055,8.465,0.595,9.255), (12.435,8.465,12.975,9.255), (14.085,8.47,14.625,9.26)])
R(control_f, psdm, [(1.695,0.13,2.235,0.92), (8.73,0.13,9.27,0.92), (13.065,0.13,13.605,0.92), (17,0.13,17.54,0.92), (7.155,0.87,8.135,1.54), (2.255,1.935,3.235,2.605), (4.045,1.935,5.465,2.605), (6.935,1.935,8.355,2.605), (9.29,1.935,10.27,2.605), (11.095,1.935,12.955,2.605), (13.625,1.935,14.605,2.605), (15.47,1.935,16.89,2.605), (17.56,1.935,18.54,2.605), (12.435,3.79,12.975,4.58), (14.085,5.215,17.245,5.595), (2.17,5.595,12.325,6.265), (12.995,5.595,17.245,5.885), (12.995,5.885,16.155,6.265), (0.055,6.72,0.595,7.51), (12.435,6.72,12.975,7.51), (14.085,6.725,14.625,7.515), (0.615,8.525,1.595,9.195), (2.17,8.525,12.325,9.195), (12.995,8.525,13.975,9.195), (14.645,8.53,15.625,9.2)])
R(control_f, npc, [(4.95,0.825,5.32,1.195), (12.44,0.825,12.81,0.925), (16.375,0.825,16.745,1.195), (12.19,0.925,12.81,1.195), (12.19,1.195,12.46,1.2), (11.84,1.2,12.46,1.425), (2.345,1.26,2.715,1.63), (9.38,1.26,9.75,1.63), (13.715,1.26,14.085,1.63), (17.65,1.26,18.02,1.63), (11.38,1.425,12.46,1.47), (11.38,1.47,12.21,1.555), (4.19,1.55,4.56,1.92), (15.615,1.55,15.985,1.92), (7.46,1.555,7.83,1.925), (11.24,1.555,12.21,1.57), (11.24,1.57,12.07,1.7), (11.24,1.7,11.61,1.925), (11.81,4.485,12.18,4.855), (14.23,4.53,14.6,4.9), (15.265,4.53,15.635,4.9), (16.355,4.53,16.725,4.9), (17.58,4.7,17.95,5.07), (2.925,4.81,3.805,5.18), (4.965,4.81,5.335,5.18), (6.495,4.81,6.865,5.18), (8.02,4.81,8.39,5.18), (9.55,4.81,9.92,5.18), (1.91,4.92,2.28,5.29), (13.085,4.92,13.455,5.29), (11.05,5.21,11.42,5.58), (0.92,5.78,1.29,6.15), (14.4,6.275,14.77,6.645), (11.81,7.415,12.18,7.785), (2.925,7.74,3.805,8.11), (4.965,7.74,5.335,8.11), (6.495,7.74,6.865,8.11), (8.02,7.74,8.39,8.11), (9.55,7.74,9.92,8.11), (0.705,7.85,1.075,8.22), (1.91,7.85,2.28,8.22), (13.085,7.85,13.455,8.22), (14.735,7.855,15.105,8.225), (11.05,8.14,11.42,8.51)])
control_f.add(gdstk.Label('VDD', (0.085,9.295), layer=68, texttype=5))
control_f.add(gdstk.Label('VSS', (0.085,6.675), layer=68, texttype=5))
control_f.add(gdstk.Label('VDD', (0.085,6.362), layer=68, texttype=5))
control_f.add(gdstk.Label('VSS', (0.085,3.745), layer=68, texttype=5))
control_f.add(gdstk.Label('VDD', (0.085,2.705), layer=68, texttype=5))
control_f.add(gdstk.Label('VSS', (0.085,0.085), layer=68, texttype=5))
control_f.add(gdstk.Label('clk', (0.085,8.035), layer=68, texttype=5))
control_f.add(gdstk.Label('cs', (0.085,5.105), layer=68, texttype=5))
control_f.add(gdstk.Label('WREN', (0.085,1.445), layer=68, texttype=5))
control_f.add(gdstk.Label('WLEN', (12.515,12.99), layer=69, texttype=5))
control_f.add(gdstk.Label('DBL', (16.86,12.99), layer=69, texttype=5))
control_f.add(gdstk.Label('DBL_', (19.81,12.99), layer=69, texttype=5))
control_f.add(gdstk.Label('PCHG', (20.06,6.21), layer=68, texttype=5))
control_f.add(gdstk.Label('SAEN', (14.995,0.132), layer=69, texttype=5))

lib.write_gds('control_f.gds')
